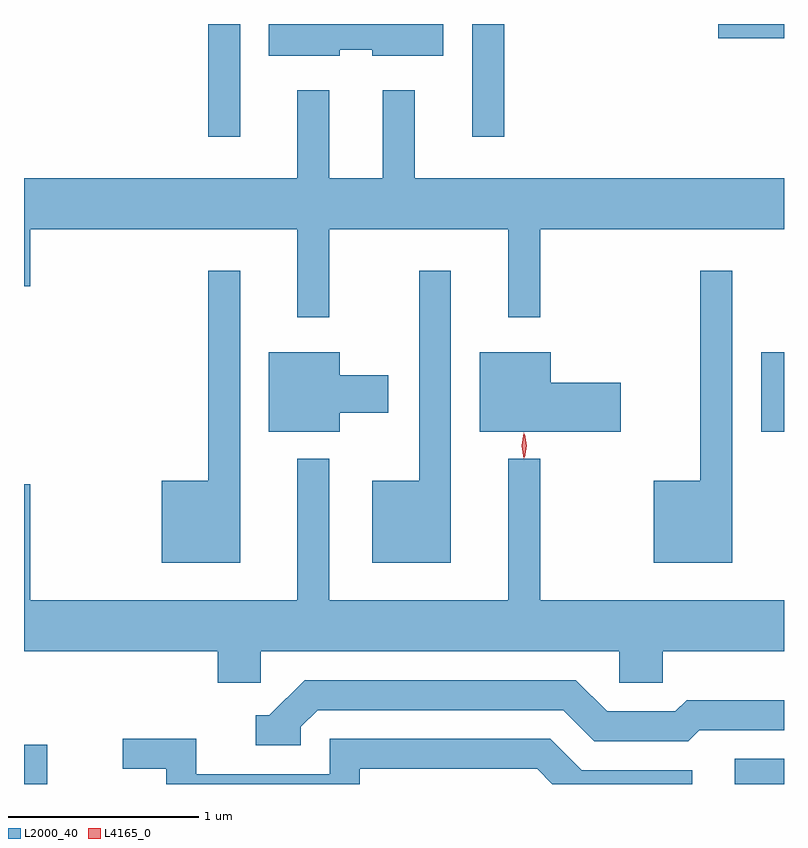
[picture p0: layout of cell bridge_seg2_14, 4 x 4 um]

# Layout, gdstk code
import gdstk
lib = gdstk.Library(unit=1e-6, precision=1e-09)
def R(c, l, rs):  # rectangles x0, y0, x1, y1
    for r in rs: c.add(gdstk.rectangle(r[:2], r[2:], *l))
def P(c, l, *ps):  # polygons
    for p in ps: c.add(gdstk.Polygon(p, *l))
L2000_40 = (2000, 40)
L4165_0 = (4165, 0)

bridge_seg2_14 = lib.new_cell('bridge_seg2_14')
R(bridge_seg2_14, L2000_40, [(1903.622,1016.537,1903.744,1016.744), (1907.363,1016.537,1907.622,1016.669), (1907.501,1018.391,1907.622,1018.809), (1904.591,1019.943,1904.759,1020.537), (1905.981,1019.943,1906.149,1020.537), (1907.276,1020.461,1907.622,1020.537)])
P(bridge_seg2_14, L2000_40, [(1905.284,1020.401),(1905.456,1020.401),(1905.456,1020.371),(1905.829,1020.371),(1905.829,1020.537),(1904.911,1020.537),(1904.911,1020.371),(1905.284,1020.371)],
  [(1905.229,1019.456),(1906.171,1019.456),(1906.171,1018.993),(1906.339,1018.993),(1906.339,1019.456),(1907.622,1019.456),(1907.622,1019.724),(1905.679,1019.724),(1905.679,1020.188),(1905.511,1020.188),(1905.511,1019.724),(1905.229,1019.724),(1905.229,1020.188),(1905.061,1020.188),(1905.061,1019.724),(1903.622,1019.724),(1903.622,1019.156),(1903.654,1019.156),(1903.654,1019.456),(1905.061,1019.456),(1905.061,1018.993),(1905.229,1018.993)],
  [(1907.349,1019.238),(1907.181,1019.238),(1907.181,1018.134),(1906.936,1018.134),(1906.936,1017.701),(1907.349,1017.701)],
  [(1905.869,1019.238),(1905.701,1019.238),(1905.701,1018.134),(1905.456,1018.134),(1905.456,1017.701),(1905.869,1017.701)],
  [(1904.759,1019.238),(1904.591,1019.238),(1904.591,1018.134),(1904.346,1018.134),(1904.346,1017.701),(1904.759,1017.701)],
  [(1906.764,1018.649),(1906.394,1018.649),(1906.394,1018.809),(1906.021,1018.809),(1906.021,1018.391),(1906.764,1018.391)],
  [(1905.284,1018.491),(1905.539,1018.491),(1905.539,1018.689),(1905.284,1018.689),(1905.284,1018.809),(1904.911,1018.809),(1904.911,1018.391),(1905.284,1018.391)],
  [(1904.869,1017.236),(1906.756,1017.236),(1906.756,1017.071),(1906.984,1017.071),(1906.984,1017.236),(1907.622,1017.236),(1907.622,1017.504),(1906.339,1017.504),(1906.339,1018.248),(1906.171,1018.248),(1906.171,1017.504),(1905.229,1017.504),(1905.229,1018.248),(1905.061,1018.248),(1905.061,1017.504),(1903.654,1017.504),(1903.654,1018.114),(1903.622,1018.114),(1903.622,1017.236),(1904.641,1017.236),(1904.641,1017.071),(1904.869,1017.071)],
  [(1905.079,1016.839),(1905.167,1016.926),(1906.459,1016.926),(1906.624,1016.761),(1907.117,1016.761),(1907.177,1016.821),(1907.622,1016.821),(1907.622,1016.979),(1907.109,1016.979),(1907.049,1016.919),(1906.692,1016.919),(1906.527,1017.084),(1905.099,1017.084),(1904.914,1016.899),(1904.843,1016.899),(1904.843,1016.741),(1905.079,1016.741)],
  [(1905.389,1016.616),(1906.324,1016.616),(1906.403,1016.537),(1907.139,1016.537),(1907.139,1016.609),(1906.557,1016.609),(1906.392,1016.774),(1905.231,1016.774),(1905.231,1016.589),(1904.529,1016.589),(1904.529,1016.774),(1904.143,1016.774),(1904.143,1016.616),(1904.371,1016.616),(1904.371,1016.537),(1905.389,1016.537)])
P(bridge_seg2_14, L4165_0, [(1906.252,1018.25),(1906.242,1018.318),(1906.251,1018.385),(1906.252,1018.386),(1906.252,1018.385),(1906.262,1018.318),(1906.253,1018.25),(1906.253,1018.25)],
  [(1906.257,1018.253),(1906.248,1018.316),(1906.257,1018.38),(1906.258,1018.38),(1906.258,1018.38),(1906.268,1018.316),(1906.258,1018.253),(1906.258,1018.253)])

lib.write_gds('bridge_seg2_14.gds')
